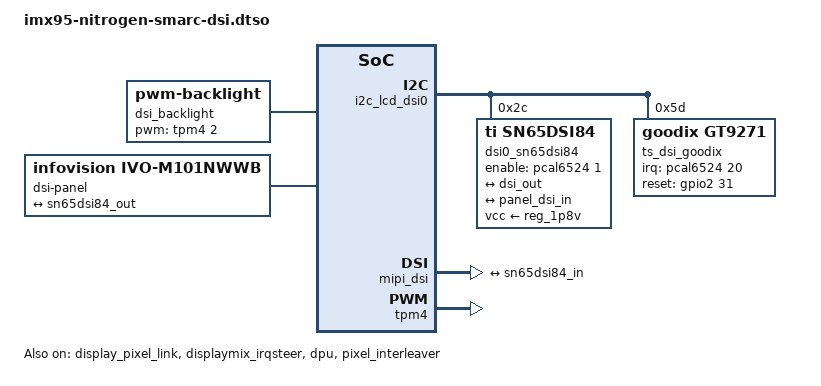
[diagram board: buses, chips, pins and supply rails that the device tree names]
// SPDX-License-Identifier: (GPL-2.0+ OR MIT)
/*
 * Copyright 2024 Ezurio LLC
 */

/dts-v1/;
/plugin/;

#include <dt-bindings/clock/fsl,imx95-clock.h>
#include <dt-bindings/gpio/gpio.h>
#include <dt-bindings/interrupt-controller/irq.h>

#include "imx95-pinfunc.h"

&{/} {
	dsi_backlight: dsi-backlight {
		brightness-levels = <0 1 2 3 4 5 6 7 8 9 10>;
		compatible = "pwm-backlight";
		default-brightness-level = <8>;
		pwms = <&tpm4 2 30000 0>;
	};

	dsi-panel {
		compatible = "infovision,ivo-m101nwwb";

		port {
			panel_dsi_in: endpoint {
				remote-endpoint = <&sn65dsi84_out>;
			};
		};
	};
};

&display_pixel_link {
	status = "okay";
};

&displaymix_irqsteer {
	status = "okay";
};

&dpu {
	assigned-clocks = <&scmi_clk IMX95_CLK_DISP1PIX>,
			  <&scmi_clk IMX95_CLK_VIDEOPLL1_VCO>,
			  <&scmi_clk IMX95_CLK_VIDEOPLL1>;
	assigned-clock-parents = <&scmi_clk IMX95_CLK_VIDEOPLL1>;
	assigned-clock-rates = <0>, <3360000000>, <420000000>;
	status = "okay";
};

&i2c_lcd_dsi0 {
	#address-cells = <1>;
	#size-cells = <0>;

	dsi0_sn65dsi84: bridge@2c {
		compatible = "ti,sn65dsi84";
		reg = <0x2c>;
		enable-gpios = <&pcal6524 1 GPIO_ACTIVE_HIGH>;
		vcc-supply = <&reg_1p8v>;
		status = "okay";

		ports {
		#address-cells = <1>;
		#size-cells = <0>;

			port@0 {
				reg = <0>;

				sn65dsi84_in: endpoint {
					remote-endpoint = <&dsi_out>;
					data-lanes = <1 2 3 4>;
				};
			};

			port@2 {
				reg = <2>;

				sn65dsi84_out: endpoint {
					remote-endpoint = <&panel_dsi_in>;
				};
			};

		};
	};

	ts_dsi_goodix: touchscreen@5d {
		compatible = "goodix,gt9271";
		reg = <0x5d>;
		interrupts-extended = <&pcal6524 20 IRQ_TYPE_EDGE_RISING>;
		irq-gpios = <&pcal6524 20 GPIO_ACTIVE_HIGH>;
		reset-gpios = <&gpio2 31 GPIO_ACTIVE_HIGH>;
		status = "okay";
	};
};

&mipi_dsi {
	#address-cells = <1>;
	#size-cells = <0>;
	status = "okay";

	ports {
		#address-cells = <1>;
		#size-cells = <0>;

		port@1 {
			reg = <1>;

			dsi_out: endpoint {
				remote-endpoint = <&sn65dsi84_in>;
			};
		};
	};
};

&pixel_interleaver {
	#address-cells = <1>;
	#size-cells = <0>;
	status = "okay";

	channel@0 {
		reg = <0>;
		status = "okay";
	};
};

&tpm4 {
	status = "okay";
};
